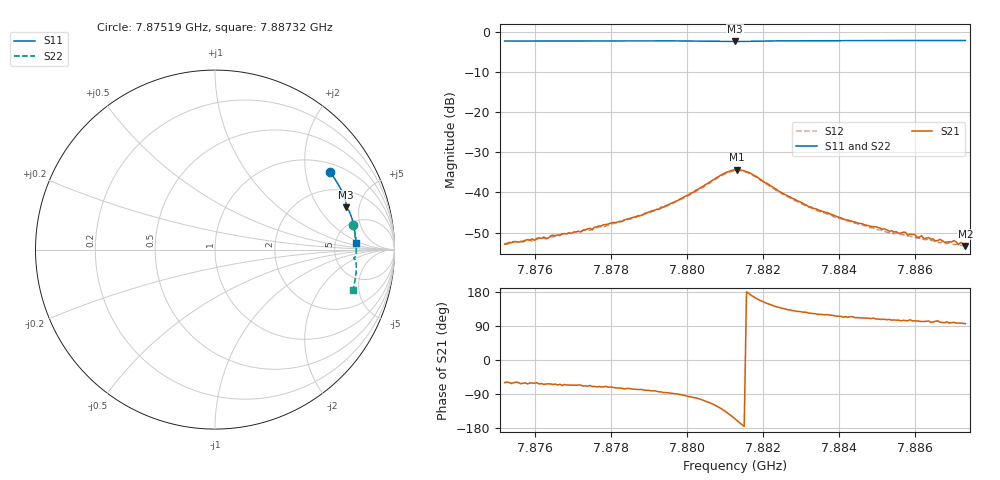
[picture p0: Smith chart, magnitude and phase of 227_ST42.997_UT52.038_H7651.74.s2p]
#  HZ  S  DB  R  50.00
! Rohde & Schwarz Vector Network Analyzer
! Rohde-Schwarz,ZNB20-2Port,1311601062101988,3.16
! Created: UTC 1/12/2023, 6:46:18 PM
! freq[Hz]  db:S11  ang:S11  db:S21  ang:S21  db:S12  ang:S12  db:S22  ang:S22
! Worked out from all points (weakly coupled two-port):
!   201 points, 7.87519 GHz to 7.88732 GHz, reference 50 ohm
!   highest |S21| = -34.34 dB at 7.88132 GHz (marker M1); lowest = -53.3 dB at 7.88732 GHz (marker M2)
!   lowest |S11| = -2.3 dB at 7.88126 GHz (marker M3), VSWR 7.48, Z = 160 + j181 ohm
!   |S11| at or under -10 dB: nowhere
!   |S22| runs from -2.2 to -1.9 dB; largest |S21 - S12| = 0.0012
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7.875192e9  -2.23 34.0  -52.88 -59.6  -52.79 -61.2  -2.17 10.2
7.876345e9  -2.21 30.9  -51.37 -62.9  -51.48 -65.6  -2.13 7.5
7.877254e9  -2.20 28.4  -49.41 -68.8  -49.49 -70.0  -2.11 5.4
7.877497e9  -2.19 27.7  -49.33 -69.8  -49.15 -73.2  -2.10 4.8
7.877558e9  -2.20 27.6  -48.67 -69.7  -48.91 -73.3  -2.10 4.6
7.879256e9  -2.18 22.9  -44.16 -84.1  -44.23 -86.2  -2.06 0.7
7.880166e9  -2.21 20.3  -39.95 -99.0  -40.05 -102.4  -2.09 -1.5
7.880954e9  -2.30 18.3  -35.33 -132.4  -35.59 -135.3  -2.18 -3.3
7.881258e9  -2.34 17.9  -34.41 -155.3  -34.55 -158.3  -2.23 -3.5
7.881318e9  -2.34 17.9  -34.34 -160.2  -34.56 -163.2  -2.23 -3.5
7.881682e9  -2.29 17.5  -35.28 170.8  -35.54 168.1  -2.18 -3.8
7.882531e9  -2.17 15.3  -40.33 135.9  -40.52 132.5  -2.04 -5.5
7.88332e9  -2.13 13.1  -43.96 122.5  -44.17 118.8  -2.01 -7.3
7.885321e9  -2.10 7.7  -49.66 107.0  -50.05 104.3  -1.95 -11.9
7.885746e9  -2.09 6.6  -49.94 104.0  -50.85 101.5  -1.95 -12.8
7.886049e9  -2.09 5.8  -51.17 102.8  -51.43 101.6  -1.95 -13.4
7.886171e9  -2.09 5.5  -50.77 101.6  -51.50 99.6  -1.94 -13.7
7.886231e9  -2.09 5.4  -51.53 101.8  -51.73 98.5  -1.94 -13.9
7.886353e9  -2.09 5.0  -51.27 103.2  -51.56 97.2  -1.94 -14.1
7.886534e9  -2.09 4.6  -52.10 102.1  -52.13 96.6  -1.95 -14.5
7.88702e9  -2.08 3.3  -52.01 99.4  -53.02 96.4  -1.94 -15.6
7.887323e9  -2.08 2.5  -53.35 95.8  -53.39 95.8  -1.94 -16.2
